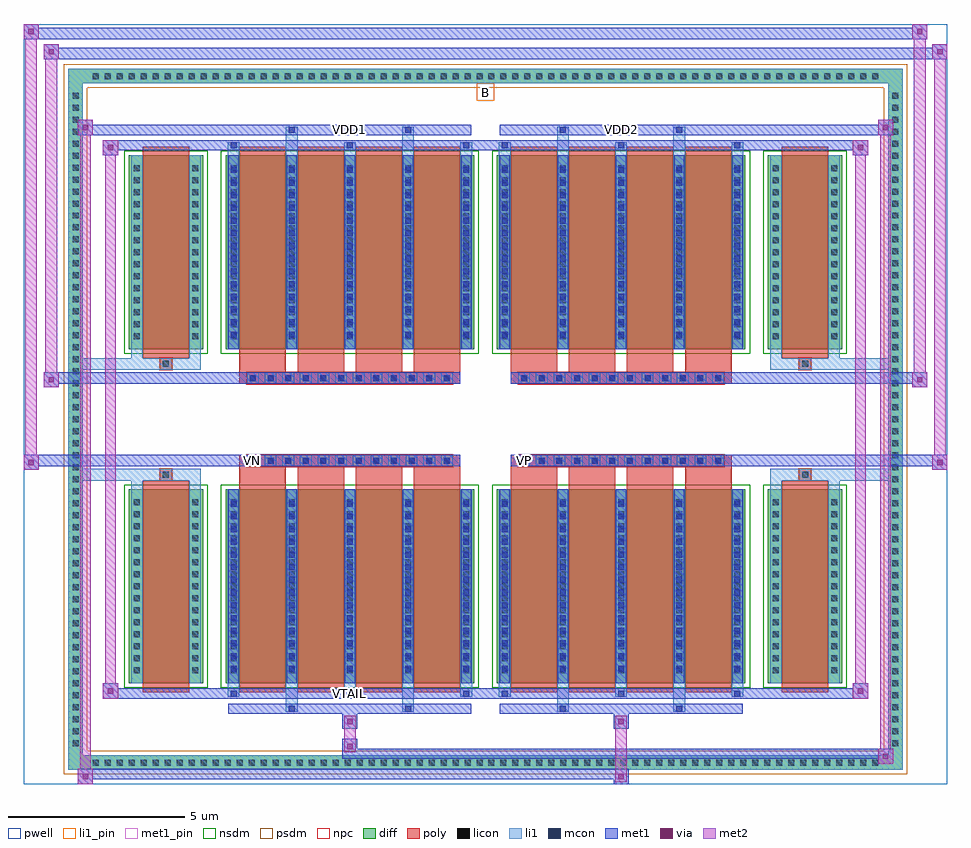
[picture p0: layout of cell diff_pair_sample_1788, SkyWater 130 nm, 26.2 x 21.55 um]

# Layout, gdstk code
import gdstk
lib = gdstk.Library(unit=1e-6, precision=5e-09)
def R(c, l, rs):  # rectangles x0, y0, x1, y1
    for r in rs: c.add(gdstk.rectangle(r[:2], r[2:], *l))
def A(c, l, x, y, w, h, nx, ny, dx, dy):  # array of equal rectangles
    R(c, l, [(x+i*dx, y+j*dy, x+i*dx+w, y+j*dy+h) for i in range(nx) for j in range(ny)])
def P(c, l, *ps):  # polygons
    for p in ps: c.add(gdstk.Polygon(p, *l))
pwell = (64, 44)
diff = (65, 20)
poly = (66, 20)
licon = (66, 44)
li1_pin = (67, 16)
li1 = (67, 20)
mcon = (67, 44)
met1_pin = (68, 16)
met1 = (68, 20)
via = (68, 44)
met2 = (69, 20)
nsdm = (93, 44)
psdm = (94, 20)
npc = (95, 20)

diff_pair_sample_1788 = lib.new_cell('diff_pair_sample_1788')
R(diff_pair_sample_1788, pwell, [(-13.1,-10.34,13.1,11.21), (-10.42,-8.53,-0.01,-0.805), (0.01,-8.53,10.42,-0.805), (-10.42,0.805,-0.01,8.53), (0.01,0.805,10.42,8.53)])
A(diff_pair_sample_1788, diff, -11.255, -9.94, 0.41, 0.41, 66, 2, 0.34, 19.47)
A(diff_pair_sample_1788, diff, -11.83, -9.385, 0.41, 0.41, 1, 55, 0, 0.34)
A(diff_pair_sample_1788, diff, 11.42, -9.385, 0.41, 0.41, 1, 55, 0, 0.34)
R(diff_pair_sample_1788, diff, [(-11.255,-9.94,11.255,-9.53), (-11.83,-9.385,-11.42,9.385), (11.42,-9.385,11.83,9.385), (-10.11,-7.485,-8.01,-1.985), (-7.37,-7.485,-0.32,-1.985), (0.32,-7.485,7.37,-1.985), (8.01,-7.485,10.11,-1.985), (-10.11,1.985,-8.01,7.485), (-7.37,1.985,-0.32,7.485), (0.32,1.985,7.37,7.485), (8.01,1.985,10.11,7.485), (-11.255,9.53,11.255,9.94)])
P(diff_pair_sample_1788, diff, [(11.83,9.94),(-11.83,9.94),(-11.83,-9.53),(-11.42,-9.53),(-11.42,9.53),(11.42,9.53),(11.42,-9.53),(-11.42,-9.53),(-11.83,-9.53),(-11.83,-9.94),(11.83,-9.94)])
A(diff_pair_sample_1788, poly, -6.98, -7.735, 1.32, 6, 4, 2, 1.65, 9.47)
A(diff_pair_sample_1788, poly, 0.71, -7.735, 1.32, 6, 4, 2, 1.65, 9.47)
A(diff_pair_sample_1788, poly, -6.98, -1.735, 1.32, 0.4, 4, 2, 1.65, 3.07)
A(diff_pair_sample_1788, poly, 0.71, -1.735, 1.32, 0.4, 4, 2, 1.65, 3.07)
A(diff_pair_sample_1788, poly, -6.76, -1.335, 0.33, 0.33, 12, 2, 0.5, 2.34)
A(diff_pair_sample_1788, poly, 0.93, -1.335, 0.33, 0.33, 12, 2, 0.5, 2.34)
R(diff_pair_sample_1788, poly, [(-9.72,-7.735,-8.4,-1.735), (8.4,-7.735,9.72,-1.735), (-9.225,-1.735,-8.895,-1.405), (-9.225,-1.735,-8.895,-1.405), (8.895,-1.735,9.225,-1.405), (8.895,-1.735,9.225,-1.405), (-6.98,-1.335,-0.71,-1.005), (0.71,-1.335,6.98,-1.005), (-6.98,1.005,-0.71,1.335), (0.71,1.005,6.98,1.335), (-9.225,1.405,-8.895,1.735), (-9.225,1.405,-8.895,1.735), (8.895,1.405,9.225,1.735), (8.895,1.405,9.225,1.735), (-9.72,1.735,-8.4,7.735), (8.4,1.735,9.72,7.735)])
A(diff_pair_sample_1788, licon, -11.135, -9.82, 0.17, 0.17, 66, 2, 0.34, 19.47)
A(diff_pair_sample_1788, licon, -11.71, -9.265, 0.17, 0.17, 1, 55, 0, 0.34)
A(diff_pair_sample_1788, licon, 11.54, -9.265, 0.17, 0.17, 1, 55, 0, 0.34)
A(diff_pair_sample_1788, licon, -9.97, -7.2, 0.17, 0.17, 1, 15, 0, 0.34)
A(diff_pair_sample_1788, licon, -8.32, -7.2, 0.17, 0.17, 1, 15, 0, 0.34)
A(diff_pair_sample_1788, licon, -7.23, -7.2, 0.17, 0.17, 5, 15, 1.65, 0.34)
A(diff_pair_sample_1788, licon, 0.46, -7.2, 0.17, 0.17, 5, 15, 1.65, 0.34)
A(diff_pair_sample_1788, licon, 8.15, -7.2, 0.17, 0.17, 1, 15, 0, 0.34)
A(diff_pair_sample_1788, licon, 9.8, -7.2, 0.17, 0.17, 1, 15, 0, 0.34)
A(diff_pair_sample_1788, licon, -6.68, -1.255, 0.17, 0.17, 12, 2, 0.5, 2.34)
A(diff_pair_sample_1788, licon, 1.01, -1.255, 0.17, 0.17, 12, 2, 0.5, 2.34)
A(diff_pair_sample_1788, licon, -9.97, 2.27, 0.17, 0.17, 1, 15, 0, 0.34)
A(diff_pair_sample_1788, licon, -8.32, 2.27, 0.17, 0.17, 1, 15, 0, 0.34)
A(diff_pair_sample_1788, licon, -7.23, 2.27, 0.17, 0.17, 5, 15, 1.65, 0.34)
A(diff_pair_sample_1788, licon, 0.46, 2.27, 0.17, 0.17, 5, 15, 1.65, 0.34)
A(diff_pair_sample_1788, licon, 8.15, 2.27, 0.17, 0.17, 1, 15, 0, 0.34)
A(diff_pair_sample_1788, licon, 9.8, 2.27, 0.17, 0.17, 1, 15, 0, 0.34)
R(diff_pair_sample_1788, licon, [(-9.145,-1.655,-8.975,-1.485), (8.975,-1.655,9.145,-1.485), (-9.145,1.485,-8.975,1.655), (8.975,1.485,9.145,1.655)])
R(diff_pair_sample_1788, li1_pin, [(-0.25,9.03,0.25,9.53)])
A(diff_pair_sample_1788, li1, -11.215, -9.9, 0.33, 0.33, 66, 2, 0.34, 19.47)
A(diff_pair_sample_1788, li1, -11.79, -9.345, 0.33, 0.33, 1, 55, 0, 0.34)
A(diff_pair_sample_1788, li1, 11.46, -9.345, 0.33, 0.33, 1, 55, 0, 0.34)
A(diff_pair_sample_1788, li1, -7.31, -7.86, 0.33, 0.375, 3, 2, 3.3, 15.345)
A(diff_pair_sample_1788, li1, -7.23, -7.86, 0.17, 0.17, 3, 2, 3.3, 15.55)
A(diff_pair_sample_1788, li1, 0.38, -7.86, 0.33, 0.375, 3, 2, 3.3, 15.345)
A(diff_pair_sample_1788, li1, 0.46, -7.86, 0.17, 0.17, 3, 2, 3.3, 15.55)
A(diff_pair_sample_1788, li1, -7.31, -7.485, 0.33, 5.5, 5, 2, 1.65, 9.47)
A(diff_pair_sample_1788, li1, 0.38, -7.485, 0.33, 5.5, 5, 2, 1.65, 9.47)
A(diff_pair_sample_1788, li1, -10.05, -7.28, 0.33, 0.33, 1, 15, 0, 0.34)
A(diff_pair_sample_1788, li1, -8.4, -7.28, 0.33, 0.33, 1, 15, 0, 0.34)
A(diff_pair_sample_1788, li1, -7.31, -7.28, 0.33, 0.33, 5, 15, 1.65, 0.34)
A(diff_pair_sample_1788, li1, 0.38, -7.28, 0.33, 0.33, 5, 15, 1.65, 0.34)
A(diff_pair_sample_1788, li1, 8.07, -7.28, 0.33, 0.33, 1, 15, 0, 0.34)
A(diff_pair_sample_1788, li1, 9.72, -7.28, 0.33, 0.33, 1, 15, 0, 0.34)
A(diff_pair_sample_1788, li1, -7.23, -7.16, 0.17, 0.17, 5, 14, 1.65, 0.36)
A(diff_pair_sample_1788, li1, -7.23, -7.16, 0.17, 4.85, 5, 2, 1.65, 9.47)
A(diff_pair_sample_1788, li1, 0.46, -7.16, 0.17, 0.17, 5, 14, 1.65, 0.36)
A(diff_pair_sample_1788, li1, 0.46, -7.16, 0.17, 4.85, 5, 2, 1.65, 9.47)
A(diff_pair_sample_1788, li1, -6.76, -1.335, 0.33, 0.33, 12, 2, 0.5, 2.34)
A(diff_pair_sample_1788, li1, 0.93, -1.335, 0.33, 0.33, 12, 2, 0.5, 2.34)
A(diff_pair_sample_1788, li1, -10.05, 2.19, 0.33, 0.33, 1, 15, 0, 0.34)
A(diff_pair_sample_1788, li1, -8.4, 2.19, 0.33, 0.33, 1, 15, 0, 0.34)
A(diff_pair_sample_1788, li1, -7.31, 2.19, 0.33, 0.33, 5, 15, 1.65, 0.34)
A(diff_pair_sample_1788, li1, 0.38, 2.19, 0.33, 0.33, 5, 15, 1.65, 0.34)
A(diff_pair_sample_1788, li1, 8.07, 2.19, 0.33, 0.33, 1, 15, 0, 0.34)
A(diff_pair_sample_1788, li1, 9.72, 2.19, 0.33, 0.33, 1, 15, 0, 0.34)
A(diff_pair_sample_1788, li1, -7.23, 2.31, 0.17, 0.17, 5, 14, 1.65, 0.36)
A(diff_pair_sample_1788, li1, 0.46, 2.31, 0.17, 0.17, 5, 14, 1.65, 0.36)
R(diff_pair_sample_1788, li1, [(-11.83,-9.94,-11.42,-9.53), (-11.83,-9.94,-11.42,-9.53), (-11.42,-9.94,11.42,-9.53), (11.42,-9.94,11.83,-9.53), (11.42,-9.94,11.83,-9.53), (-11.83,-9.53,-11.42,9.53), (11.42,-9.53,11.83,9.53), (-5.66,-8.29,-5.33,-7.485), (-5.58,-8.29,-5.41,-8.12), (-2.36,-8.29,-2.03,-7.485), (-2.28,-8.29,-2.11,-8.12), (2.03,-8.29,2.36,-7.485), (2.11,-8.29,2.28,-8.12), (5.33,-8.29,5.66,-7.485), (5.41,-8.29,5.58,-8.12), (-10.05,-7.485,-9.72,-1.985), (-8.4,-7.485,-8.07,-1.985), (8.07,-7.485,8.4,-1.985), (9.72,-7.485,10.05,-1.985), (-10.05,-1.985,-9.72,-1.405), (-8.4,-1.985,-8.07,-1.405), (8.07,-1.985,8.4,-1.405), (9.72,-1.985,10.05,-1.405), (-11.83,-1.735,-9.225,-1.405), (-10.05,-1.735,-9.225,-1.405), (-9.225,-1.735,-8.895,-1.405), (-8.895,-1.735,-8.07,-1.405), (8.07,-1.735,8.895,-1.405), (8.895,-1.735,9.225,-1.405), (8.895,-1.735,11.83,-1.405), (9.225,-1.735,10.05,-1.405), (-11.83,1.405,-9.225,1.735), (-10.05,1.405,-9.225,1.735), (-10.05,1.405,-9.72,1.985), (-9.225,1.405,-8.895,1.735), (-8.895,1.405,-8.07,1.735), (-8.4,1.405,-8.07,1.985), (8.07,1.405,8.895,1.735), (8.07,1.405,8.4,1.985), (8.895,1.405,9.225,1.735), (8.895,1.405,11.83,1.735), (9.225,1.405,10.05,1.735), (9.72,1.405,10.05,1.985), (-10.05,1.985,-9.72,7.485), (-8.4,1.985,-8.07,7.485), (8.07,1.985,8.4,7.485), (9.72,1.985,10.05,7.485), (-5.66,7.485,-5.33,8.29), (-2.36,7.485,-2.03,8.29), (2.03,7.485,2.36,8.29), (5.33,7.485,5.66,8.29), (-5.58,8.12,-5.41,8.29), (-2.28,8.12,-2.11,8.29), (2.11,8.12,2.28,8.29), (5.41,8.12,5.58,8.29), (-11.83,9.53,-11.42,9.94), (-11.83,9.53,-11.42,9.94), (-11.42,9.53,11.42,9.94), (11.42,9.53,11.83,9.94), (11.42,9.53,11.83,9.94)])
A(diff_pair_sample_1788, mcon, -7.23, -7.86, 0.17, 0.17, 3, 2, 3.3, 15.55)
A(diff_pair_sample_1788, mcon, 0.46, -7.86, 0.17, 0.17, 3, 2, 3.3, 15.55)
A(diff_pair_sample_1788, mcon, -7.23, -7.16, 0.17, 0.17, 5, 14, 1.65, 0.36)
A(diff_pair_sample_1788, mcon, 0.46, -7.16, 0.17, 0.17, 5, 14, 1.65, 0.36)
A(diff_pair_sample_1788, mcon, -6.68, -1.255, 0.17, 0.17, 12, 2, 0.5, 2.34)
A(diff_pair_sample_1788, mcon, 1.01, -1.255, 0.17, 0.17, 12, 2, 0.5, 2.34)
A(diff_pair_sample_1788, mcon, -7.23, 2.31, 0.17, 0.17, 5, 14, 1.65, 0.36)
A(diff_pair_sample_1788, mcon, 0.46, 2.31, 0.17, 0.17, 5, 14, 1.65, 0.36)
R(diff_pair_sample_1788, mcon, [(-5.58,-8.29,-5.41,-8.12), (-2.28,-8.29,-2.11,-8.12), (2.11,-8.29,2.28,-8.12), (5.41,-8.29,5.58,-8.12), (-5.58,8.12,-5.41,8.29), (-2.28,8.12,-2.11,8.29), (2.11,8.12,2.28,8.29), (5.41,8.12,5.58,8.29)])
R(diff_pair_sample_1788, met1_pin, [(-3.98,-7.9,-3.71,-7.63), (-6.73,-1.295,-6.46,-1.025), (0.96,-1.295,1.23,-1.025), (-3.98,8.08,-3.71,8.35), (3.71,8.08,3.98,8.35)])
A(diff_pair_sample_1788, met1, -7.29, -7.92, 0.29, 0.29, 3, 2, 3.3, 15.55)
A(diff_pair_sample_1788, met1, 0.4, -7.92, 0.29, 0.29, 3, 2, 3.3, 15.55)
A(diff_pair_sample_1788, met1, -7.29, -7.485, 0.29, 5.5, 5, 2, 1.65, 9.47)
A(diff_pair_sample_1788, met1, 0.4, -7.485, 0.29, 5.5, 5, 2, 1.65, 9.47)
A(diff_pair_sample_1788, met1, -7.29, -7.22, 0.29, 0.29, 5, 14, 1.65, 0.36)
A(diff_pair_sample_1788, met1, 0.4, -7.22, 0.29, 0.29, 5, 14, 1.65, 0.36)
A(diff_pair_sample_1788, met1, -6.74, -1.315, 0.29, 0.29, 12, 2, 0.5, 2.34)
A(diff_pair_sample_1788, met1, 0.95, -1.315, 0.29, 0.29, 12, 2, 0.5, 2.34)
A(diff_pair_sample_1788, met1, -7.29, 2.25, 0.29, 0.29, 5, 14, 1.65, 0.36)
A(diff_pair_sample_1788, met1, 0.4, 2.25, 0.29, 0.29, 5, 14, 1.65, 0.36)
R(diff_pair_sample_1788, met1, [(-11.56,-10.34,-11.13,-9.91), (3.63,-10.34,4.06,-9.91), (-11.56,-10.2,4.06,-9.91), (11.13,-9.77,11.56,-9.34), (-4.06,-9.63,11.56,-9.34), (-4.06,-9.49,-3.63,-9.06), (-4.06,-8.78,-3.63,-8.35), (3.63,-8.78,4.06,-8.35), (-7.29,-8.35,-0.4,-8.06), (-5.64,-8.35,-5.35,-8.06), (-2.34,-8.35,-2.05,-8.06), (0.4,-8.35,7.29,-8.06), (2.05,-8.35,2.34,-8.06), (5.35,-8.35,5.64,-8.06), (-10.85,-7.92,-10.42,-7.49), (-10.85,-7.92,-7.29,-7.63), (-7.29,-7.92,-0.4,-7.63), (-0.4,-7.92,0.4,-7.63), (0.4,-7.92,7.29,-7.63), (7.29,-7.92,10.85,-7.63), (10.42,-7.92,10.85,-7.49), (-13.1,-1.435,-12.67,-1.005), (12.67,-1.435,13.1,-1.005), (-13.1,-1.335,-0.71,-1.005), (-6.98,-1.335,-0.71,-1.005), (0.71,-1.335,6.98,-1.005), (0.71,-1.335,13.1,-1.005), (-12.53,0.905,-12.1,1.335), (12.1,0.905,12.53,1.335), (-12.53,1.005,-6.98,1.335), (-6.98,1.005,-0.71,1.335), (0.71,1.005,6.98,1.335), (6.98,1.005,12.53,1.335), (-10.85,7.49,-10.42,7.92), (10.42,7.49,10.85,7.92), (-10.85,7.63,-7.29,7.92), (-7.29,7.63,-0.4,7.92), (-0.4,7.63,0.4,7.92), (0.4,7.63,7.29,7.92), (7.29,7.63,10.85,7.92), (-11.56,8.06,-11.13,8.49), (-11.56,8.06,-7.29,8.35), (-7.29,8.06,-0.4,8.35), (-5.64,8.06,-5.35,8.35), (-2.34,8.06,-2.05,8.35), (0.4,8.06,7.29,8.35), (2.05,8.06,2.34,8.35), (5.35,8.06,5.64,8.35), (7.29,8.06,11.56,8.35), (11.13,8.06,11.56,8.49), (-12.53,10.21,-12.1,10.64), (-12.53,10.21,-10.42,10.54), (-10.42,10.21,10.42,10.54), (10.42,10.21,13.1,10.54), (12.67,10.21,13.1,10.64), (-13.1,10.78,-12.67,11.21), (-13.1,10.78,-10.42,11.11), (-10.42,10.78,10.42,11.11), (10.42,10.78,12.53,11.11), (12.1,10.78,12.53,11.21)])
R(diff_pair_sample_1788, via, [(-11.42,-10.2,-11.27,-10.05), (3.77,-10.2,3.92,-10.05), (11.27,-9.63,11.42,-9.48), (-3.92,-9.35,-3.77,-9.2), (-3.92,-8.64,-3.77,-8.49), (3.77,-8.64,3.92,-8.49), (-10.71,-7.78,-10.56,-7.63), (10.56,-7.78,10.71,-7.63), (-12.96,-1.295,-12.81,-1.145), (12.81,-1.295,12.96,-1.145), (-12.39,1.045,-12.24,1.195), (12.24,1.045,12.39,1.195), (-10.71,7.63,-10.56,7.78), (10.56,7.63,10.71,7.78), (-11.42,8.2,-11.27,8.35), (11.27,8.2,11.42,8.35), (-12.39,10.35,-12.24,10.5), (12.81,10.35,12.96,10.5), (-12.96,10.92,-12.81,11.07), (12.24,10.92,12.39,11.07)])
R(diff_pair_sample_1788, met2, [(-11.56,-10.34,-11.13,-9.91), (-11.49,-10.34,-11.2,8.49), (-11.2,-10.34,-11.13,-9.91), (-11.51,-10.29,-11.18,-9.96), (3.68,-10.29,4.01,-9.96), (3.68,-9.96,4.01,-8.73), (11.13,-9.77,11.56,-9.34), (11.2,-9.77,11.49,8.49), (11.49,-9.77,11.56,-9.34), (11.18,-9.72,11.51,-9.39), (-4.01,-9.44,-3.68,-9.11), (-4.01,-9.11,-3.68,-8.73), (-4.01,-8.73,-3.68,-8.4), (3.68,-8.73,4.01,-8.4), (-10.85,-7.92,-10.42,-7.49), (-10.78,-7.92,-10.49,7.92), (-10.49,-7.92,-10.42,-7.49), (10.42,-7.92,10.85,-7.49), (10.49,-7.92,10.78,7.92), (10.78,-7.92,10.85,-7.49), (-10.8,-7.87,-10.47,-7.54), (10.47,-7.87,10.8,-7.54), (-13.1,-1.435,-12.67,-1.005), (-13.05,-1.435,-12.72,11.21), (-12.72,-1.435,-12.67,-1.005), (12.67,-1.435,13.1,-1.005), (12.72,-1.435,13.05,10.64), (13.05,-1.435,13.1,-1.005), (-13.05,-1.385,-12.72,-1.055), (12.72,-1.385,13.05,-1.055), (-12.53,0.905,-12.1,1.335), (-12.48,0.905,-12.15,10.64), (-12.15,0.905,-12.1,1.335), (12.1,0.905,12.53,1.335), (12.15,0.905,12.48,11.21), (12.48,0.905,12.53,1.335), (-12.48,0.955,-12.15,1.285), (12.15,0.955,12.48,1.285), (-10.85,7.49,-10.42,7.92), (-10.49,7.49,-10.42,7.92), (10.42,7.49,10.85,7.92), (10.78,7.49,10.85,7.92), (-10.8,7.54,-10.47,7.87), (10.47,7.54,10.8,7.87), (-11.56,8.06,-11.13,8.49), (-11.2,8.06,-11.13,8.49), (11.13,8.06,11.56,8.49), (11.49,8.06,11.56,8.49), (-11.51,8.11,-11.18,8.44), (11.18,8.11,11.51,8.44), (-12.53,10.21,-12.1,10.64), (-12.15,10.21,-12.1,10.64), (12.67,10.21,13.1,10.64), (13.05,10.21,13.1,10.64), (-12.48,10.26,-12.15,10.59), (12.72,10.26,13.05,10.59), (-13.1,10.78,-12.67,11.21), (-12.72,10.78,-12.67,11.21), (12.1,10.78,12.53,11.21), (12.48,10.78,12.53,11.21), (-13.05,10.83,-12.72,11.16), (12.15,10.83,12.48,11.16)])
R(diff_pair_sample_1788, nsdm, [(-10.24,-7.615,-7.88,-1.855), (-7.5,-7.615,-0.19,-1.855), (0.19,-7.615,7.5,-1.855), (7.88,-7.615,10.24,-1.855), (-10.24,1.855,-7.88,7.615), (-7.5,1.855,-0.19,7.615), (0.19,1.855,7.5,7.615), (7.88,1.855,10.24,7.615)])
P(diff_pair_sample_1788, psdm, [(11.96,10.07),(-11.96,10.07),(-11.96,-9.4),(-11.29,-9.4),(-11.29,9.4),(11.29,9.4),(11.29,-9.4),(-11.29,-9.4),(-11.96,-9.4),(-11.96,-10.07),(11.96,-10.07)])
A(diff_pair_sample_1788, npc, -6.78, -1.355, 0.37, 0.37, 12, 2, 0.5, 2.34)
A(diff_pair_sample_1788, npc, 0.91, -1.355, 0.37, 0.37, 12, 2, 0.5, 2.34)
R(diff_pair_sample_1788, npc, [(-9.245,-1.755,-8.875,-1.385), (8.875,-1.755,9.245,-1.385), (-6.78,-1.355,-5.91,-0.985), (-6.78,-1.355,-5.91,-0.985), (-6.28,-1.355,-5.41,-0.985), (-6.28,-1.355,-5.41,-0.985), (-5.78,-1.355,-4.91,-0.985), (-5.78,-1.355,-4.91,-0.985), (-5.28,-1.355,-4.41,-0.985), (-5.28,-1.355,-4.41,-0.985), (-4.78,-1.355,-3.91,-0.985), (-4.78,-1.355,-3.91,-0.985), (-4.28,-1.355,-3.41,-0.985), (-4.28,-1.355,-3.41,-0.985), (-3.78,-1.355,-2.91,-0.985), (-3.78,-1.355,-2.91,-0.985), (-3.28,-1.355,-2.41,-0.985), (-3.28,-1.355,-2.41,-0.985), (-2.78,-1.355,-1.91,-0.985), (-2.78,-1.355,-1.91,-0.985), (-2.28,-1.355,-1.41,-0.985), (-2.28,-1.355,-1.41,-0.985), (-1.78,-1.355,-0.91,-0.985), (-1.78,-1.355,-0.91,-0.985), (0.91,-1.355,1.78,-0.985), (0.91,-1.355,1.78,-0.985), (1.41,-1.355,2.28,-0.985), (1.41,-1.355,2.28,-0.985), (1.91,-1.355,2.78,-0.985), (1.91,-1.355,2.78,-0.985), (2.41,-1.355,3.28,-0.985), (2.41,-1.355,3.28,-0.985), (2.91,-1.355,3.78,-0.985), (2.91,-1.355,3.78,-0.985), (3.41,-1.355,4.28,-0.985), (3.41,-1.355,4.28,-0.985), (3.91,-1.355,4.78,-0.985), (3.91,-1.355,4.78,-0.985), (4.41,-1.355,5.28,-0.985), (4.41,-1.355,5.28,-0.985), (4.91,-1.355,5.78,-0.985), (4.91,-1.355,5.78,-0.985), (5.41,-1.355,6.28,-0.985), (5.41,-1.355,6.28,-0.985), (5.91,-1.355,6.78,-0.985), (5.91,-1.355,6.78,-0.985), (-6.78,0.985,-5.91,1.355), (-6.78,0.985,-5.91,1.355), (-6.28,0.985,-5.41,1.355), (-6.28,0.985,-5.41,1.355), (-5.78,0.985,-4.91,1.355), (-5.78,0.985,-4.91,1.355), (-5.28,0.985,-4.41,1.355), (-5.28,0.985,-4.41,1.355), (-4.78,0.985,-3.91,1.355), (-4.78,0.985,-3.91,1.355), (-4.28,0.985,-3.41,1.355), (-4.28,0.985,-3.41,1.355), (-3.78,0.985,-2.91,1.355), (-3.78,0.985,-2.91,1.355), (-3.28,0.985,-2.41,1.355), (-3.28,0.985,-2.41,1.355), (-2.78,0.985,-1.91,1.355), (-2.78,0.985,-1.91,1.355), (-2.28,0.985,-1.41,1.355), (-2.28,0.985,-1.41,1.355), (-1.78,0.985,-0.91,1.355), (-1.78,0.985,-0.91,1.355), (0.91,0.985,1.78,1.355), (0.91,0.985,1.78,1.355), (1.41,0.985,2.28,1.355), (1.41,0.985,2.28,1.355), (1.91,0.985,2.78,1.355), (1.91,0.985,2.78,1.355), (2.41,0.985,3.28,1.355), (2.41,0.985,3.28,1.355), (2.91,0.985,3.78,1.355), (2.91,0.985,3.78,1.355), (3.41,0.985,4.28,1.355), (3.41,0.985,4.28,1.355), (3.91,0.985,4.78,1.355), (3.91,0.985,4.78,1.355), (4.41,0.985,5.28,1.355), (4.41,0.985,5.28,1.355), (4.91,0.985,5.78,1.355), (4.91,0.985,5.78,1.355), (5.41,0.985,6.28,1.355), (5.41,0.985,6.28,1.355), (5.91,0.985,6.78,1.355), (5.91,0.985,6.78,1.355), (-9.245,1.385,-8.875,1.755), (8.875,1.385,9.245,1.755)])
diff_pair_sample_1788.add(gdstk.Label('VTAIL', (-3.845,-7.765), layer=68, texttype=5))
diff_pair_sample_1788.add(gdstk.Label('VN', (-6.595,-1.16), layer=68, texttype=5))
diff_pair_sample_1788.add(gdstk.Label('VP', (1.095,-1.16), layer=68, texttype=5))
diff_pair_sample_1788.add(gdstk.Label('B', (0,9.28), layer=67, texttype=5))
diff_pair_sample_1788.add(gdstk.Label('VDD2', (3.845,8.215), layer=68, texttype=5))
diff_pair_sample_1788.add(gdstk.Label('VDD1', (-3.845,8.215), layer=68, texttype=5))

lib.write_gds('diff_pair_sample_1788.gds')
